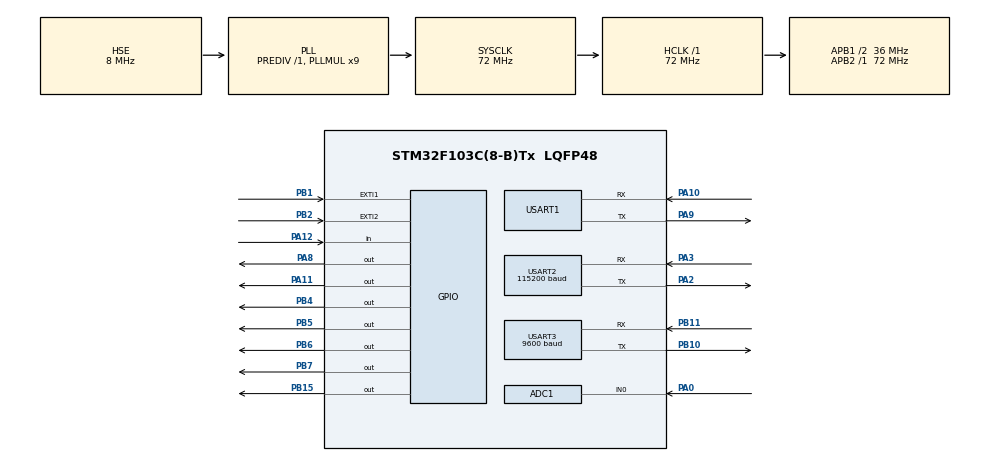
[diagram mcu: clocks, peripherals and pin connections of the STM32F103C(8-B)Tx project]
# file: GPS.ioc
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ADC1.Channel-1\#ChannelRegularConversion=ADC_CHANNEL_0
ADC1.NbrOfConversionFlag=1
ADC1.Rank-1\#ChannelRegularConversion=1
ADC1.SamplingTime-1\#ChannelRegularConversion=ADC_SAMPLETIME_1CYCLE_5
ADC1.master=1
FREERTOS.Tasks01=defaultTask,0,128,StartDefaultTask,Default,NULL,Dynamic,NULL,NULL
Mcu.Family=STM32F1
Mcu.Name=STM32F103C(8-B)Tx
Mcu.Package=LQFP48
NVIC.EXTI1_IRQn=true\:6\:0\:true\:false\:true\:false\:true\:true
NVIC.EXTI2_IRQn=true\:5\:0\:false\:false\:true\:false\:true\:true
NVIC.PriorityGroup=NVIC_PRIORITYGROUP_4
NVIC.TIM3_IRQn=true\:15\:0\:false\:false\:true\:false\:false\:true
NVIC.TimeBase=TIM3_IRQn
NVIC.TimeBaseIP=TIM3
NVIC.USART3_IRQn=true\:7\:0\:true\:false\:true\:false\:true\:true
PA0-WKUP.Signal=ADCx_IN0
PA10.Mode=Asynchronous
PA10.Signal=USART1_RX
PA11.Signal=GPIO_Output
PA12.Signal=GPIO_Input
PA13.Mode=Serial_Wire
PA13.Signal=SYS_JTMS-SWDIO
PA14.Mode=Serial_Wire
PA14.Signal=SYS_JTCK-SWCLK
PA2.Mode=Asynchronous
PA2.Signal=USART2_TX
PA3.Mode=Asynchronous
PA3.Signal=USART2_RX
PA8.Signal=GPIO_Output
PA9.Mode=Asynchronous
PA9.Signal=USART1_TX
PB1.GPIO_ModeDefaultEXTI=GPIO_MODE_IT_FALLING
PB1.GPIO_PuPd=GPIO_PULLUP
PB1.Signal=GPXTI1
PB10.Mode=Asynchronous
PB10.Signal=USART3_TX
PB11.Mode=Asynchronous
PB11.Signal=USART3_RX
PB15.Signal=GPIO_Output
PB2.GPIO_ModeDefaultEXTI=GPIO_MODE_IT_FALLING
PB2.GPIO_PuPd=GPIO_PULLUP
PB2.Signal=GPXTI2
PB4.GPIO_ModeDefaultOutputPP=GPIO_MODE_OUTPUT_PP
PB4.GPIO_PuPd=GPIO_NOPULL
PB4.GPIO_Speed=GPIO_SPEED_FREQ_HIGH
PB4.PinState=GPIO_PIN_SET
PB4.Signal=GPIO_Output
PB5.GPIO_ModeDefaultOutputPP=GPIO_MODE_OUTPUT_PP
PB5.GPIO_PuPd=GPIO_NOPULL
PB5.GPIO_Speed=GPIO_SPEED_FREQ_HIGH
PB5.PinState=GPIO_PIN_SET
PB5.Signal=GPIO_Output
PB6.GPIO_ModeDefaultOutputPP=GPIO_MODE_OUTPUT_PP
PB6.GPIO_PuPd=GPIO_NOPULL
PB6.GPIO_Speed=GPIO_SPEED_FREQ_HIGH
PB6.PinState=GPIO_PIN_SET
PB6.Signal=GPIO_Output
PB7.GPIO_ModeDefaultOutputPP=GPIO_MODE_OUTPUT_PP
PB7.GPIO_PuPd=GPIO_NOPULL
PB7.GPIO_Speed=GPIO_SPEED_FREQ_HIGH
PB7.PinState=GPIO_PIN_SET
PB7.Signal=GPIO_Output
PD0-OSC_IN.Mode=HSE-External-Oscillator
PD0-OSC_IN.Signal=RCC_OSC_IN
PD1-OSC_OUT.Mode=HSE-External-Oscillator
PD1-OSC_OUT.Signal=RCC_OSC_OUT
ProjectManager.HeapSize=0x200
ProjectManager.StackSize=0x400
ProjectManager.TargetToolchain=STM32CubeIDE
RCC.ADCPresc=RCC_ADCPCLK2_DIV6
RCC.AHBFreq_Value=72000000
RCC.APB1CLKDivider=RCC_HCLK_DIV2
RCC.APB1Freq_Value=36000000
RCC.APB1TimFreq_Value=72000000
RCC.APB2Freq_Value=72000000
RCC.APB2TimFreq_Value=72000000
RCC.HCLKFreq_Value=72000000
RCC.PLLMUL=RCC_PLL_MUL9
RCC.PLLSourceVirtual=RCC_PLLSOURCE_HSE
RCC.SYSCLKFreq_VALUE=72000000
RCC.SYSCLKSource=RCC_SYSCLKSOURCE_PLLCLK
RCC.USBFreq_Value=72000000
SH.ADCx_IN0.0=ADC1_IN0,IN0
USART1.VirtualMode=VM_ASYNC
USART2.BaudRate=115200
USART2.VirtualMode=VM_ASYNC
USART3.BaudRate=9600
USART3.VirtualMode=VM_ASYNC
VP_FREERTOS_VS_CMSIS_V1.Mode=CMSIS_V1
VP_SYS_VS_tim3.Mode=TIM3
board=custom

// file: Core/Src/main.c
/* USER CODE BEGIN Header */
/**
  ******************************************************************************
  * @file           : main.c
  * @brief          : Main program body
  ******************************************************************************
  * @attention
  *
  * <h2><center>&copy; Copyright (c) 2022 STMicroelectronics.
  * All rights reserved.</center></h2>
  *
  * This software component is licensed by ST under Ultimate Liberty license
  * SLA0044, the "License"; You may not use this file except in compliance with
  * the License. You may obtain a copy of the License at:
  *                             www.st.com/SLA0044
  *
  ******************************************************************************
  */
/* USER CODE END Header */
#include "main.h"
#include "cmsis_os.h"
#include "adc.h"
#include "usart.h"
#include "gpio.h"

void SystemClock_Config(void);
void MX_FREERTOS_Init(void);

int main(void)
{

  /* MCU Configuration--------------------------------------------------------*/

  /* Reset of all peripherals, Initializes the Flash interface and the Systick. */
  HAL_Init();

  /* Configure the system clock */
  SystemClock_Config();

  /* Initialize all configured peripherals */
  MX_GPIO_Init();
  MX_USART1_UART_Init();
  MX_USART2_UART_Init();
  MX_USART3_UART_Init();
  MX_ADC1_Init();
  /* USER CODE BEGIN 2 */
  HAL_ADC_Start(&hadc1);
  /* USER CODE END 2 */

  /* Call init function for freertos objects (in freertos.c) */
  MX_FREERTOS_Init();
  /* Start scheduler */
  osKernelStart();

  /* We should never get here as control is now taken by the scheduler */
  /* Infinite loop */
  while (1)
  {

  }
}

void SystemClock_Config(void)
{
  RCC_OscInitTypeDef RCC_OscInitStruct = {0};
  RCC_ClkInitTypeDef RCC_ClkInitStruct = {0};
  RCC_PeriphCLKInitTypeDef PeriphClkInit = {0};

  /** Initializes the RCC Oscillators according to the specified parameters
  * in the RCC_OscInitTypeDef structure.
  */
  RCC_OscInitStruct.OscillatorType = RCC_OSCILLATORTYPE_HSE;
  RCC_OscInitStruct.HSEState = RCC_HSE_ON;
  RCC_OscInitStruct.HSEPredivValue = RCC_HSE_PREDIV_DIV1;
  RCC_OscInitStruct.HSIState = RCC_HSI_ON;
  RCC_OscInitStruct.PLL.PLLState = RCC_PLL_ON;
  RCC_OscInitStruct.PLL.PLLSource = RCC_PLLSOURCE_HSE;
  RCC_OscInitStruct.PLL.PLLMUL = RCC_PLL_MUL9;
  if (HAL_RCC_OscConfig(&RCC_OscInitStruct) != HAL_OK)
  {
    Error_Handler();
  }
  /** Initializes the CPU, AHB and APB buses clocks
  */
  RCC_ClkInitStruct.ClockType = RCC_CLOCKTYPE_HCLK|RCC_CLOCKTYPE_SYSCLK
                              |RCC_CLOCKTYPE_PCLK1|RCC_CLOCKTYPE_PCLK2;
  RCC_ClkInitStruct.SYSCLKSource = RCC_SYSCLKSOURCE_PLLCLK;
  RCC_ClkInitStruct.AHBCLKDivider = RCC_SYSCLK_DIV1;
  RCC_ClkInitStruct.APB1CLKDivider = RCC_HCLK_DIV2;
  RCC_ClkInitStruct.APB2CLKDivider = RCC_HCLK_DIV1;

  if (HAL_RCC_ClockConfig(&RCC_ClkInitStruct, FLASH_LATENCY_2) != HAL_OK)
  {
    Error_Handler();
  }
  PeriphClkInit.PeriphClockSelection = RCC_PERIPHCLK_ADC;
  PeriphClkInit.AdcClockSelection = RCC_ADCPCLK2_DIV6;
  if (HAL_RCCEx_PeriphCLKConfig(&PeriphClkInit) != HAL_OK)
  {
    Error_Handler();
  }
}

void HAL_TIM_PeriodElapsedCallback(TIM_HandleTypeDef *htim)
{
  if (htim->Instance == TIM3) {
    HAL_IncTick();
  }
}

void Error_Handler(void)
{
  __disable_irq();
  while (1)
  {
  }
}

/************************ (C) COPYRIGHT STMicroelectronics *****END OF FILE****/

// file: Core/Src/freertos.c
/* USER CODE BEGIN Header */
/**
  ******************************************************************************
  * File Name          : freertos.c
  * Description        : Code for freertos applications
  ******************************************************************************
  * @attention
  *
  * <h2><center>&copy; Copyright (c) 2022 STMicroelectronics.
  * All rights reserved.</center></h2>
  *
  * This software component is licensed by ST under Ultimate Liberty license
  * SLA0044, the "License"; You may not use this file except in compliance with
  * the License. You may obtain a copy of the License at:
  *                             www.st.com/SLA0044
  *
  ******************************************************************************
  */
/* USER CODE END Header */

#include "FreeRTOS.h"
#include "task.h"
#include "main.h"
#include "cmsis_os.h"

/* USER CODE BEGIN Includes */
#include <stdbool.h>
#include <stdio.h>
#include <string.h>
#include "adc.h"
#include "func.h"
#include "usart.h"
#include "gpio.h"
/* USER CODE END Includes */

/* USER CODE BEGIN Variables */
TaskHandle_t general_task_handle;
TaskHandle_t gps_task_handle;
quectel_struct_t quectel_gps;
quectel_state_t quectel_state;
int k = 0;
char data_rx = '\0';
char data_gps_rx[100] = {0};
bool send_sms_flag = false;
bool get_battery_level_flag = false;
uint16_t battery_level = 0;
char data_lat[10] = {0};
char data_long[10] = {0};
char number[15] = "0832377059";
/* USER CODE END Variables */
osThreadId defaultTaskHandle;

/* USER CODE BEGIN FunctionPrototypes */
void general_task(void *param);
void gps_task(void *param);
/* USER CODE END FunctionPrototypes */

void StartDefaultTask(void const * argument);

void MX_FREERTOS_Init(void); /* (MISRA C 2004 rule 8.1) */

/* GetIdleTaskMemory prototype (linked to static allocation support) */
void vApplicationGetIdleTaskMemory( StaticTask_t **ppxIdleTaskTCBBuffer, StackType_t **ppxIdleTaskStackBuffer, uint32_t *pulIdleTaskStackSize );

/* USER CODE BEGIN GET_IDLE_TASK_MEMORY */
static StaticTask_t xIdleTaskTCBBuffer;
static StackType_t xIdleStack[configMINIMAL_STACK_SIZE];

void vApplicationGetIdleTaskMemory( StaticTask_t **ppxIdleTaskTCBBuffer, StackType_t **ppxIdleTaskStackBuffer, uint32_t *pulIdleTaskStackSize )
{
  *ppxIdleTaskTCBBuffer = &xIdleTaskTCBBuffer;
  *ppxIdleTaskStackBuffer = &xIdleStack[0];
  *pulIdleTaskStackSize = configMINIMAL_STACK_SIZE;
  /* place for user code */
}
/* USER CODE END GET_IDLE_TASK_MEMORY */

void MX_FREERTOS_Init(void) {

  /* Create the thread(s) */
  /* definition and creation of defaultTask */
//  osThreadDef(defaultTask, StartDefaultTask, osPriorityNormal, 0, 128);
//  defaultTaskHandle = osThreadCreate(osThread(defaultTask), NULL);

  /* USER CODE BEGIN RTOS_THREADS */
  xTaskCreate(&general_task, "general_task", 300, NULL, 1, &general_task_handle);
  xTaskCreate(&gps_task, "gps_task", 300, NULL, 2, &gps_task_handle);
  /* USER CODE END RTOS_THREADS */

}

void StartDefaultTask(void const * argument)
{
  for(;;)
  {
    osDelay(1);
  }
}

/* USER CODE BEGIN Application */
void HAL_GPIO_EXTI_Callback(uint16_t GPIO_Pin)
{
	if(GPIO_Pin == GPIO_PIN_2)
	{
		battery_level = HAL_ADC_GetValue(&hadc1);
		get_battery_level_flag = true;
	}
	else if(GPIO_Pin == GPIO_PIN_1)
	{
		battery_level = HAL_ADC_GetValue(&hadc1);
		send_sms_flag = true;
	}
}

void HAL_UART_RxCpltCallback(UART_HandleTypeDef *huart)
{
	if(huart->Instance == USART3)
	{
		quectel_callback();
	}
}

void general_task(void *param) // hien thi dien ap pin va gui tin nhan den dien thoai
{
	TickType_t tick_battery = 0;
	TickType_t tick_sms = 0;
	uint8_t mess_content[100] = {0};

	while(sim_init() != STM_OK)
	{
		vTaskDelay(1000);
	}
	while(1)
	{
		if(get_battery_level_flag == true)
		{
			tick_battery = xTaskGetTickCount();
			get_battery_level_flag = false;
			if(battery_level > 3057)
			{
				HAL_GPIO_WritePin(GPIOB, GPIO_PIN_4, GPIO_PIN_RESET);
				HAL_GPIO_WritePin(GPIOB, GPIO_PIN_5, GPIO_PIN_RESET);
				HAL_GPIO_WritePin(GPIOB, GPIO_PIN_6, GPIO_PIN_RESET);
				HAL_GPIO_WritePin(GPIOB, GPIO_PIN_7, GPIO_PIN_RESET);
			}
			else if(battery_level <= 3057 && battery_level > 2817)
			{
				HAL_GPIO_WritePin(GPIOB, GPIO_PIN_4, GPIO_PIN_SET);
				HAL_GPIO_WritePin(GPIOB, GPIO_PIN_5, GPIO_PIN_RESET);
				HAL_GPIO_WritePin(GPIOB, GPIO_PIN_6, GPIO_PIN_RESET);
				HAL_GPIO_WritePin(GPIOB, GPIO_PIN_7, GPIO_PIN_RESET);
			}
			else if(battery_level <= 2817 && battery_level > 2705)
			{
				HAL_GPIO_WritePin(GPIOB, GPIO_PIN_4, GPIO_PIN_SET);
				HAL_GPIO_WritePin(GPIOB, GPIO_PIN_5, GPIO_PIN_SET);
				HAL_GPIO_WritePin(GPIOB, GPIO_PIN_6, GPIO_PIN_RESET);
				HAL_GPIO_WritePin(GPIOB, GPIO_PIN_7, GPIO_PIN_RESET);
			}
			else if (battery_level <= 2705)
			{
				HAL_GPIO_WritePin(GPIOB, GPIO_PIN_4, GPIO_PIN_SET);
				HAL_GPIO_WritePin(GPIOB, GPIO_PIN_5, GPIO_PIN_SET);
				HAL_GPIO_WritePin(GPIOB, GPIO_PIN_6, GPIO_PIN_SET);
				HAL_GPIO_WritePin(GPIOB, GPIO_PIN_7, GPIO_PIN_RESET);
			}
		}
		else if(xTaskGetTickCount() > tick_battery + 5000)
		{
			HAL_GPIO_WritePin(GPIOB, GPIO_PIN_4, GPIO_PIN_SET);
			HAL_GPIO_WritePin(GPIOB, GPIO_PIN_5, GPIO_PIN_SET);
			HAL_GPIO_WritePin(GPIOB, GPIO_PIN_6, GPIO_PIN_SET);
			HAL_GPIO_WritePin(GPIOB, GPIO_PIN_7, GPIO_PIN_SET);
		}

		if(send_sms_flag == true && ((xTaskGetTickCount() > tick_sms + 5000) || tick_sms == 0))
		{
			tick_sms = xTaskGetTickCount();
			send_sms_flag = false;
			sprintf((char*)mess_content, "https://www.google.com/maps/search/?api=1&query=%s,%s\n", data_lat, data_long);
			sim_send_mess(mess_content, (uint8_t*)number);
			memset((char*)mess_content, '\0', strlen((char*)mess_content));
		}
		else
			vTaskDelay(100);
		vTaskDelay(100);
	}
}

void gps_task(void *param)
{
	quectel_init();
	while(1)
	{
		quectel_recv_gps();
		quectel_procees_gps(&quectel_gps, data_gps_rx, data_lat, data_long);
		vTaskDelay(2000);
	}
}
/* USER CODE END Application */

/************************ (C) COPYRIGHT STMicroelectronics *****END OF FILE****/
